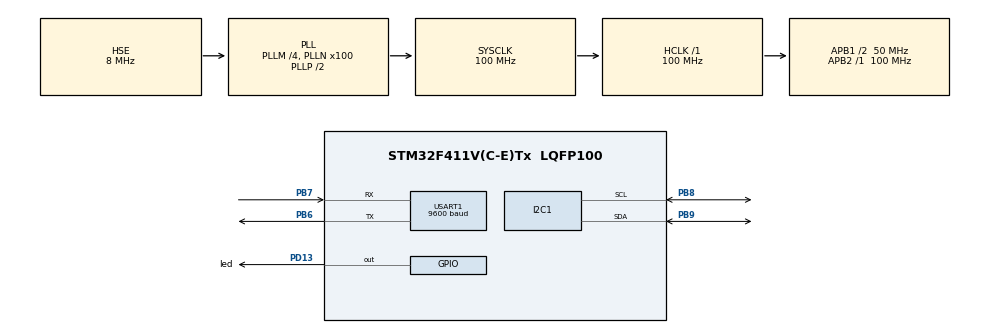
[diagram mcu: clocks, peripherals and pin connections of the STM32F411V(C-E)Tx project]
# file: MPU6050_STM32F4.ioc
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Dma.Request0=USART1_RX
Dma.Request1=USART1_TX
Dma.USART1_RX.0.Direction=DMA_PERIPH_TO_MEMORY
Dma.USART1_RX.0.FIFOMode=DMA_FIFOMODE_DISABLE
Dma.USART1_RX.0.Instance=DMA2_Stream2
Dma.USART1_RX.0.MemDataAlignment=DMA_MDATAALIGN_BYTE
Dma.USART1_RX.0.MemInc=DMA_MINC_ENABLE
Dma.USART1_RX.0.Mode=DMA_NORMAL
Dma.USART1_RX.0.PeriphDataAlignment=DMA_PDATAALIGN_BYTE
Dma.USART1_RX.0.PeriphInc=DMA_PINC_DISABLE
Dma.USART1_RX.0.Priority=DMA_PRIORITY_LOW
Dma.USART1_TX.1.Direction=DMA_MEMORY_TO_PERIPH
Dma.USART1_TX.1.FIFOMode=DMA_FIFOMODE_DISABLE
Dma.USART1_TX.1.Instance=DMA2_Stream7
Dma.USART1_TX.1.MemDataAlignment=DMA_MDATAALIGN_BYTE
Dma.USART1_TX.1.MemInc=DMA_MINC_ENABLE
Dma.USART1_TX.1.Mode=DMA_NORMAL
Dma.USART1_TX.1.PeriphDataAlignment=DMA_PDATAALIGN_BYTE
Dma.USART1_TX.1.PeriphInc=DMA_PINC_DISABLE
Dma.USART1_TX.1.Priority=DMA_PRIORITY_LOW
I2C1.I2C_Mode=I2C_Fast
Mcu.Family=STM32F4
Mcu.Name=STM32F411V(C-E)Tx
Mcu.Package=LQFP100
NVIC.DMA2_Stream2_IRQn=true\:0\:0\:false\:false\:true
NVIC.DMA2_Stream7_IRQn=true\:0\:0\:false\:false\:true
NVIC.PriorityGroup=NVIC_PRIORITYGROUP_4
NVIC.USART1_IRQn=true\:0\:0\:false\:false\:true
PB6.Mode=Asynchronous
PB6.Signal=USART1_TX
PB7.Mode=Asynchronous
PB7.Signal=USART1_RX
PB8.GPIO_PuPdOD=GPIO_NOPULL
PB8.Mode=I2C
PB8.Signal=I2C1_SCL
PB9.GPIO_PuPdOD=GPIO_NOPULL
PB9.Mode=I2C
PB9.Signal=I2C1_SDA
PD13.GPIO_Label=led
PD13.Signal=GPIO_Output
PH0\ -\ OSC_IN.Mode=HSE-External-Oscillator
PH0\ -\ OSC_IN.Signal=RCC_OSC_IN
PH1\ -\ OSC_OUT.Mode=HSE-External-Oscillator
PH1\ -\ OSC_OUT.Signal=RCC_OSC_OUT
ProjectManager.HeapSize=0x200
ProjectManager.StackSize=0x400
ProjectManager.TargetToolchain=SW4STM32
RCC.48MHZClocksFreq_Value=50000000
RCC.AHBFreq_Value=100000000
RCC.APB1CLKDivider=RCC_HCLK_DIV2
RCC.APB1Freq_Value=50000000
RCC.APB1TimFreq_Value=100000000
RCC.APB2Freq_Value=100000000
RCC.APB2TimFreq_Value=100000000
RCC.CortexFreq_Value=100000000
RCC.HCLKFreq_Value=100000000
RCC.HSE_VALUE=8000000
RCC.HSI_VALUE=16000000
RCC.LSE_VALUE=32768
RCC.PLLM=4
RCC.PLLN=100
RCC.PLLSourceVirtual=RCC_PLLSOURCE_HSE
RCC.SYSCLKFreq_VALUE=100000000
RCC.SYSCLKSource=RCC_SYSCLKSOURCE_PLLCLK
RCC.VCOOutputFreq_Value=200000000
USART1.BaudRate=9600
USART1.VirtualMode=VM_ASYNC
board=MPU6050_STM32F4

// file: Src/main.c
/**
  ******************************************************************************
  * File Name          : main.c
  * Description        : Main program body
  ******************************************************************************
  ** This notice applies to any and all portions of this file
  * that are not between comment pairs USER CODE BEGIN and
  * USER CODE END. Other portions of this file, whether
  * inserted by the user or by software development tools
  * are owned by their respective copyright owners.
  *
  * COPYRIGHT(c) 2017 STMicroelectronics
  *
  * Redistribution and use in source and binary forms, with or without modification,
  * are permitted provided that the following conditions are met:
  *   1. Redistributions of source code must retain the above copyright notice,
  *      this list of conditions and the following disclaimer.
  *   2. Redistributions in binary form must reproduce the above copyright notice,
  *      this list of conditions and the following disclaimer in the documentation
  *      and/or other materials provided with the distribution.
  *   3. Neither the name of STMicroelectronics nor the names of its contributors
  *      may be used to endorse or promote products derived from this software
  *      without specific prior written permission.
  *
  * THIS SOFTWARE IS PROVIDED BY THE COPYRIGHT HOLDERS AND CONTRIBUTORS "AS IS"
  * AND ANY EXPRESS OR IMPLIED WARRANTIES, INCLUDING, BUT NOT LIMITED TO, THE
  * IMPLIED WARRANTIES OF MERCHANTABILITY AND FITNESS FOR A PARTICULAR PURPOSE ARE
  * DISCLAIMED. IN NO EVENT SHALL THE COPYRIGHT HOLDER OR CONTRIBUTORS BE LIABLE
  * FOR ANY DIRECT, INDIRECT, INCIDENTAL, SPECIAL, EXEMPLARY, OR CONSEQUENTIAL
  * DAMAGES (INCLUDING, BUT NOT LIMITED TO, PROCUREMENT OF SUBSTITUTE GOODS OR
  * SERVICES; LOSS OF USE, DATA, OR PROFITS; OR BUSINESS INTERRUPTION) HOWEVER
  * CAUSED AND ON ANY THEORY OF LIABILITY, WHETHER IN CONTRACT, STRICT LIABILITY,
  * OR TORT (INCLUDING NEGLIGENCE OR OTHERWISE) ARISING IN ANY WAY OUT OF THE USE
  * OF THIS SOFTWARE, EVEN IF ADVISED OF THE POSSIBILITY OF SUCH DAMAGE.
  *
  ******************************************************************************
  */
#include "main.h"
#include "stm32f4xx_hal.h"

I2C_HandleTypeDef hi2c1;

UART_HandleTypeDef huart1;
DMA_HandleTypeDef hdma_usart1_rx;
DMA_HandleTypeDef hdma_usart1_tx;

/* USER CODE BEGIN PV */
/* Private variables ---------------------------------------------------------*/
#define MPU6050_ADDRESS             (0x69) // 0x69 when AD0 pin to Vcc

#define MPU6050_REG_ACCEL_XOFFS_H     (0x06)
#define MPU6050_REG_ACCEL_XOFFS_L     (0x07)
#define MPU6050_REG_ACCEL_YOFFS_H     (0x08)
#define MPU6050_REG_ACCEL_YOFFS_L     (0x09)
#define MPU6050_REG_ACCEL_ZOFFS_H     (0x0A)
#define MPU6050_REG_ACCEL_ZOFFS_L     (0x0B)
#define MPU6050_REG_GYRO_XOFFS_H      (0x13)
#define MPU6050_REG_GYRO_XOFFS_L      (0x14)
#define MPU6050_REG_GYRO_YOFFS_H      (0x15)
#define MPU6050_REG_GYRO_YOFFS_L      (0x16)
#define MPU6050_REG_GYRO_ZOFFS_H      (0x17)
#define MPU6050_REG_GYRO_ZOFFS_L      (0x18)
#define MPU6050_REG_CONFIG            (0x1A)
#define MPU6050_REG_GYRO_CONFIG       (0x1B) // Gyroscope Configuration
#define MPU6050_REG_ACCEL_CONFIG      (0x1C) // Accelerometer Configuration
#define MPU6050_REG_FF_THRESHOLD      (0x1D)
#define MPU6050_REG_FF_DURATION       (0x1E)
#define MPU6050_REG_MOT_THRESHOLD     (0x1F)
#define MPU6050_REG_MOT_DURATION      (0x20)
#define MPU6050_REG_ZMOT_THRESHOLD    (0x21)
#define MPU6050_REG_ZMOT_DURATION     (0x22)
#define MPU6050_REG_INT_PIN_CFG       (0x37) // INT Pin. Bypass Enable Configuration
#define MPU6050_REG_INT_ENABLE        (0x38) // INT Enable
#define MPU6050_REG_INT_STATUS        (0x3A)
#define MPU6050_REG_ACCEL_XOUT_H      (0x3B)
#define MPU6050_REG_ACCEL_XOUT_L      (0x3C)
#define MPU6050_REG_ACCEL_YOUT_H      (0x3D)
#define MPU6050_REG_ACCEL_YOUT_L      (0x3E)
#define MPU6050_REG_ACCEL_ZOUT_H      (0x3F)
#define MPU6050_REG_ACCEL_ZOUT_L      (0x40)
#define MPU6050_REG_TEMP_OUT_H        (0x41)
#define MPU6050_REG_TEMP_OUT_L        (0x42)
#define MPU6050_REG_GYRO_XOUT_H       (0x43)
#define MPU6050_REG_GYRO_XOUT_L       (0x44)
#define MPU6050_REG_GYRO_YOUT_H       (0x45)
#define MPU6050_REG_GYRO_YOUT_L       (0x46)
#define MPU6050_REG_GYRO_ZOUT_H       (0x47)
#define MPU6050_REG_GYRO_ZOUT_L       (0x48)
#define MPU6050_REG_MOT_DETECT_STATUS (0x61)
#define MPU6050_REG_MOT_DETECT_CTRL   (0x69)
#define MPU6050_REG_USER_CTRL         (0x6A) // User Control
#define MPU6050_REG_PWR_MGMT_1        (0x6B) // Power Management 1
#define MPU6050_REG_WHO_AM_I          (0x75) // Who Am I

uint8_t RawData[6] = {1,2,3,4,5,6};
uint8_t RawTemperature[2] = {0, 0};
/* USER CODE END PV */

void SystemClock_Config(void);
static void MX_GPIO_Init(void);
static void MX_DMA_Init(void);
static void MX_I2C1_Init(void);
static void MX_USART1_UART_Init(void);

/* USER CODE BEGIN PFP */
/* Private function prototypes -----------------------------------------------*/

/* USER CODE END PFP */

int main(void)
{

  /* USER CODE BEGIN 1 */
	uint8_t size = 0;
//	uint8_t cnt = 0;
	uint8_t settings;
	char data[50];
  /* USER CODE END 1 */

  /* MCU Configuration----------------------------------------------------------*/

  /* Reset of all peripherals, Initializes the Flash interface and the Systick. */
  HAL_Init();

  /* Configure the system clock */
  SystemClock_Config();

  /* Initialize all configured peripherals */
  MX_GPIO_Init();
  MX_DMA_Init();
  MX_I2C1_Init();
  MX_USART1_UART_Init();

  /* USER CODE BEGIN 2 */
  HAL_I2C_Mem_Read(&hi2c1, MPU6050_ADDRESS, MPU6050_REG_TEMP_OUT_H, 1, RawTemperature, 2, 100);
  size = sprintf(data, "Temp_H %d Temp_L %d\n\r", RawTemperature[0], RawTemperature[1]);
  HAL_UART_Transmit_IT(&huart1, (uint8_t*)data, size);

//  settings = 0b00000000;
//  HAL_I2C_Mem_Write(&hi2c1, MPU6050_ADDRESS, MPU6050_REG_PWR_MGMT_1, 1, &settings, 1, 100);

  HAL_Delay(100);
  HAL_I2C_Mem_Read(&hi2c1, MPU6050_ADDRESS, MPU6050_REG_TEMP_OUT_H, 1, RawTemperature, 2, 100);
  size = sprintf(data, "Temp_H %d Temp_L %d\n\r", RawTemperature[0], RawTemperature[1]);
  HAL_UART_Transmit_IT(&huart1, (uint8_t*)data, size);
//  settings = 0b00000000;
//  HAL_I2C_Mem_Write(&hi2c1, MPU6050_ADDRESS, MPU6050_REG_GYRO_CONFIG, 1, &settings, 1, 100);
//
//  settings = 0b00000000;
//  HAL_I2C_Mem_Write(&hi2c1, MPU6050_ADDRESS, MPU6050_REG_ACCEL_CONFIG, 1, &settings, 1, 100);
  /* USER CODE END 2 */

  /* Infinite loop */
  /* USER CODE BEGIN WHILE */
	while (1) {
//		size = sprintf(data, "Test %d\n\r", cnt++);
//		size = sprintf(data, "Data %d   %d\n\r", RawData[0], RawData[1]);
//		HAL_UART_Transmit_IT(&huart1, (uint8_t*)data, size);
//		HAL_UART_Transmit_DMA(&huart1, (uint8_t*)data, size);
//
//		HAL_I2C_Mem_Read(&hi2c1, MPU6050_ADDRESS, MPU6050_REG_ACCEL_XOUT_H, 1, RawData, 1, 100);

		HAL_GPIO_TogglePin(led_GPIO_Port, led_Pin);
		HAL_Delay(500);
  /* USER CODE END WHILE */

	}

}

/** System Clock Configuration
*/
void SystemClock_Config(void)
{

  RCC_OscInitTypeDef RCC_OscInitStruct;
  RCC_ClkInitTypeDef RCC_ClkInitStruct;

    /**Configure the main internal regulator output voltage
    */
  __HAL_RCC_PWR_CLK_ENABLE();

  __HAL_PWR_VOLTAGESCALING_CONFIG(PWR_REGULATOR_VOLTAGE_SCALE1);

    /**Initializes the CPU, AHB and APB busses clocks
    */
  RCC_OscInitStruct.OscillatorType = RCC_OSCILLATORTYPE_HSE;
  RCC_OscInitStruct.HSEState = RCC_HSE_ON;
  RCC_OscInitStruct.PLL.PLLState = RCC_PLL_ON;
  RCC_OscInitStruct.PLL.PLLSource = RCC_PLLSOURCE_HSE;
  RCC_OscInitStruct.PLL.PLLM = 4;
  RCC_OscInitStruct.PLL.PLLN = 100;
  RCC_OscInitStruct.PLL.PLLP = RCC_PLLP_DIV2;
  RCC_OscInitStruct.PLL.PLLQ = 4;
  if (HAL_RCC_OscConfig(&RCC_OscInitStruct) != HAL_OK)
  {
    _Error_Handler(__FILE__, __LINE__);
  }

    /**Initializes the CPU, AHB and APB busses clocks
    */
  RCC_ClkInitStruct.ClockType = RCC_CLOCKTYPE_HCLK|RCC_CLOCKTYPE_SYSCLK
                              |RCC_CLOCKTYPE_PCLK1|RCC_CLOCKTYPE_PCLK2;
  RCC_ClkInitStruct.SYSCLKSource = RCC_SYSCLKSOURCE_PLLCLK;
  RCC_ClkInitStruct.AHBCLKDivider = RCC_SYSCLK_DIV1;
  RCC_ClkInitStruct.APB1CLKDivider = RCC_HCLK_DIV2;
  RCC_ClkInitStruct.APB2CLKDivider = RCC_HCLK_DIV1;

  if (HAL_RCC_ClockConfig(&RCC_ClkInitStruct, FLASH_LATENCY_3) != HAL_OK)
  {
    _Error_Handler(__FILE__, __LINE__);
  }

    /**Configure the Systick interrupt time
    */
  HAL_SYSTICK_Config(HAL_RCC_GetHCLKFreq()/1000);

    /**Configure the Systick
    */
  HAL_SYSTICK_CLKSourceConfig(SYSTICK_CLKSOURCE_HCLK);

  /* SysTick_IRQn interrupt configuration */
  HAL_NVIC_SetPriority(SysTick_IRQn, 0, 0);
}

/* I2C1 init function */
static void MX_I2C1_Init(void)
{

  hi2c1.Instance = I2C1;
  hi2c1.Init.ClockSpeed = 400000;
  hi2c1.Init.DutyCycle = I2C_DUTYCYCLE_2;
  hi2c1.Init.OwnAddress1 = 0;
  hi2c1.Init.AddressingMode = I2C_ADDRESSINGMODE_7BIT;
  hi2c1.Init.DualAddressMode = I2C_DUALADDRESS_DISABLE;
  hi2c1.Init.OwnAddress2 = 0;
  hi2c1.Init.GeneralCallMode = I2C_GENERALCALL_DISABLE;
  hi2c1.Init.NoStretchMode = I2C_NOSTRETCH_DISABLE;
  if (HAL_I2C_Init(&hi2c1) != HAL_OK)
  {
    _Error_Handler(__FILE__, __LINE__);
  }

}

/* USART1 init function */
static void MX_USART1_UART_Init(void)
{

  huart1.Instance = USART1;
  huart1.Init.BaudRate = 9600;
  huart1.Init.WordLength = UART_WORDLENGTH_8B;
  huart1.Init.StopBits = UART_STOPBITS_1;
  huart1.Init.Parity = UART_PARITY_NONE;
  huart1.Init.Mode = UART_MODE_TX_RX;
  huart1.Init.HwFlowCtl = UART_HWCONTROL_NONE;
  huart1.Init.OverSampling = UART_OVERSAMPLING_16;
  if (HAL_UART_Init(&huart1) != HAL_OK)
  {
    _Error_Handler(__FILE__, __LINE__);
  }

}

static void MX_DMA_Init(void)
{
  /* DMA controller clock enable */
  __HAL_RCC_DMA2_CLK_ENABLE();

  /* DMA interrupt init */
  /* DMA2_Stream2_IRQn interrupt configuration */
  HAL_NVIC_SetPriority(DMA2_Stream2_IRQn, 0, 0);
  HAL_NVIC_EnableIRQ(DMA2_Stream2_IRQn);
  /* DMA2_Stream7_IRQn interrupt configuration */
  HAL_NVIC_SetPriority(DMA2_Stream7_IRQn, 0, 0);
  HAL_NVIC_EnableIRQ(DMA2_Stream7_IRQn);

}

/** Configure pins as
        * Analog
        * Input
        * Output
        * EVENT_OUT
        * EXTI
*/
static void MX_GPIO_Init(void)
{

  GPIO_InitTypeDef GPIO_InitStruct;

  /* GPIO Ports Clock Enable */
  __HAL_RCC_GPIOH_CLK_ENABLE();
  __HAL_RCC_GPIOD_CLK_ENABLE();
  __HAL_RCC_GPIOB_CLK_ENABLE();

  /*Configure GPIO pin Output Level */
  HAL_GPIO_WritePin(led_GPIO_Port, led_Pin, GPIO_PIN_RESET);

  /*Configure GPIO pin : led_Pin */
  GPIO_InitStruct.Pin = led_Pin;
  GPIO_InitStruct.Mode = GPIO_MODE_OUTPUT_PP;
  GPIO_InitStruct.Pull = GPIO_NOPULL;
  GPIO_InitStruct.Speed = GPIO_SPEED_FREQ_LOW;
  HAL_GPIO_Init(led_GPIO_Port, &GPIO_InitStruct);

}

void _Error_Handler(char * file, int line)
{
	while (1) {
	}
}

/************************ (C) COPYRIGHT STMicroelectronics *****END OF FILE****/
